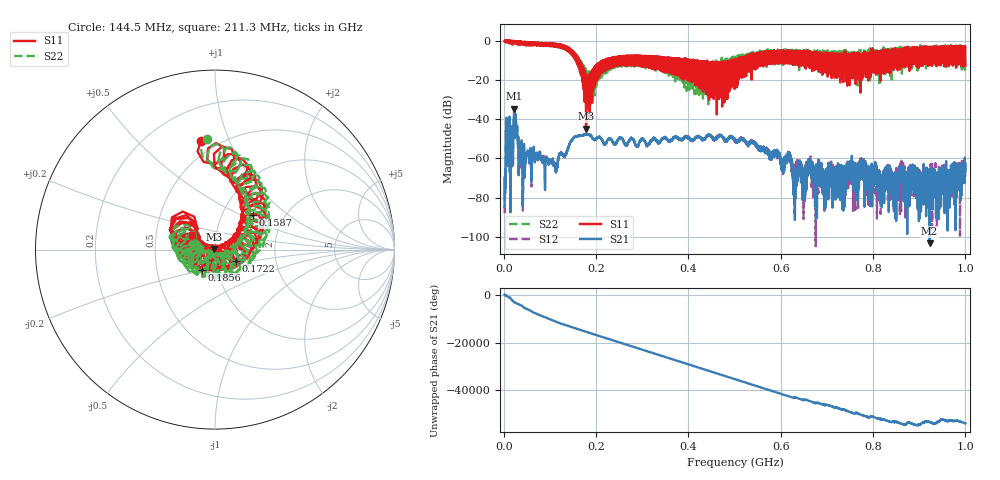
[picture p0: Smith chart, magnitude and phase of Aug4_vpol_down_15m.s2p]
!Keysight Technologies N9923A: A.12.45
!Date: Tuesday, 05 August 2025 20:37:36
!Timezone: (UTC+08:00) Kuala Lumpur, Singapore
!Model: N9923A
!Serial: MY61181427
!GPS Latitude:
!GPS Longitude:
!GPS TimeStamp: 0001-01-01 00:00:00Z
!GPS Seconds Since Last Read: 0
!CHECKSUM:1584341899
!Correction: S11(ON U)S21(ON U)S12(ON U)S22(ON U)
!S2P File: Measurements:S11,S21,S12,S22:
# Hz S DB R 50
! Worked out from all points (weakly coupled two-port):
!   4001 points, 2 MHz to 1 GHz, reference 50 ohm
!   highest |S21| = -34.54 dB at 22.96 MHz (marker M1); lowest = -103.4 dB at 922.4 MHz (marker M2)
!   lowest |S11| = -44.8 dB at 178.4 MHz (marker M3), VSWR 1.01, Z = 49.6 + j0.396 ohm
!   |S11| at or under -10 dB: 163 MHz to 215.5 MHz (52.58 MHz wide, 27.8 % of centre); 412.2 MHz to 420.4 MHz (8.157 MHz wide, 1.96 % of centre); 420.7 MHz to 494 MHz (73.33 MHz wide, 16 % of centre)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
!   |S22| runs from -35.0 to 0.1 dB; largest |S21 - S12| = 0.00093
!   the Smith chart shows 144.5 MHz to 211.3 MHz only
!   S11 on the Smith chart (normalised r, x): 144.5 MHz: 0.41, +0.79; 158.7 MHz: 1.40, +0.58; 172.2 MHz: 1.26, -0.16; 185.6 MHz: 0.84, -0.19; 211.3 MHz: 0.76, +0.12
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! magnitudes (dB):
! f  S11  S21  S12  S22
! 2 MHz  -0.1  -84.6  -88.0  -0.1
! 7.988 MHz  -0.2  -52.4  -52.2  -0.2
! 22.96 MHz  -0.8  -34.5  -34.7  -1.0
! 44.41 MHz  -1.9  -56.1  -55.4  -1.9
! 112.3 MHz  -1.7  -65.4  -65.1  -2.0
! 144.5 MHz  -4.3  -51.4  -51.5  -4.2
! 158.7 MHz  -10.9  -48.7  -48.6  -10.5
! 168.4 MHz  -18.0  -48.5  -48.2  -15.6
! 172.2 MHz  -17.5  -48.1  -48.0  -16.3
! 178.4 MHz  -44.8  -47.7  -47.7  -22.8
! 185.6 MHz  -17.3  -48.2  -47.9  -16.8
! 211.3 MHz  -16.4  -49.7  -50.0  -16.3
! 334.8 MHz  -8.3  -51.5  -52.0  -10.3
! 501 MHz  -9.7  -50.8  -51.3  -9.1
! 617.3 MHz  -7.4  -60.0  -57.3  -4.3
! 630 MHz  -6.1  -76.5  -88.1  -9.9
! 667.4 MHz  -6.1  -68.0  -61.6  -7.0
! 696.1 MHz  -6.5  -76.3  -75.6  -6.7
! 776.7 MHz  -7.1  -64.2  -62.6  -14.0
! 833.8 MHz  -6.6  -72.9  -71.8  -13.9
! 922.4 MHz  -10.6  -103.4  -70.2  -4.1
! 1 GHz  -12.6  -62.6  -69.7  -4.0
